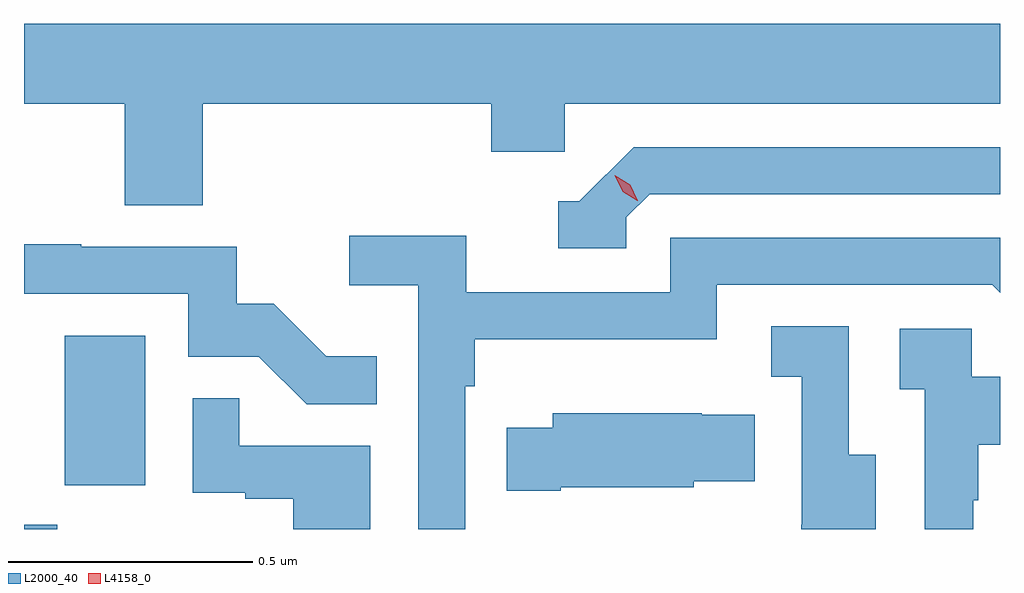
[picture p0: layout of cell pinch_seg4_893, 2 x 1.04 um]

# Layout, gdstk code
import gdstk
lib = gdstk.Library(unit=1e-6, precision=1e-09)
def R(c, l, rs):  # rectangles x0, y0, x1, y1
    for r in rs: c.add(gdstk.rectangle(r[:2], r[2:], *l))
def P(c, l, *ps):  # polygons
    for p in ps: c.add(gdstk.Polygon(p, *l))
L2000_40 = (2000, 40)
L4158_0 = (4158, 0)

pinch_seg4_893 = lib.new_cell('pinch_seg4_893')
R(pinch_seg4_893, L2000_40, [(830.792,798.612,830.86,798.621), (830.876,798.702,831.04,799.009)])
P(pinch_seg4_893, L2000_40, [(831.158,799.484),(831.749,799.484),(831.749,799.386),(831.9,799.386),(831.9,799.484),(832.792,799.484),(832.792,799.648),(830.792,799.648),(830.792,799.484),(830.998,799.484),(830.998,799.276),(831.158,799.276)],
  [(832.026,799.251),(832.074,799.299),(832.792,799.299),(832.792,799.395),(832.041,799.395),(831.93,799.284),(831.887,799.284),(831.887,799.188),(832.026,799.188)],
  [(831.696,798.905),(831.716,798.905),(831.716,799.001),(832.212,799.001),(832.212,799.113),(832.776,799.113),(832.792,799.097),(832.792,799.209),(832.116,799.209),(832.116,799.098),(831.698,799.098),(831.698,799.214),(831.459,799.214),(831.459,799.112),(831.6,799.112),(831.6,798.612),(831.696,798.612)],
  [(831.515,798.967),(831.411,798.967),(831.304,799.074),(831.228,799.074),(831.228,799.191),(830.909,799.191),(830.909,799.196),(830.792,799.196),(830.792,799.095),(831.129,799.095),(831.129,798.966),(831.273,798.966),(831.371,798.868),(831.515,798.868)],
  [(832.537,798.765),(832.482,798.765),(832.482,799.028),(832.323,799.028),(832.323,798.925),(832.386,798.925),(832.386,798.621),(832.385,798.621),(832.385,798.612),(832.537,798.612)],
  [(832.737,798.671),(832.747,798.671),(832.747,798.785),(832.792,798.785),(832.792,798.925),(832.734,798.925),(832.734,799.023),(832.587,799.023),(832.587,798.899),(832.638,798.899),(832.638,798.612),(832.737,798.612)],
  [(831.502,798.783),(831.233,798.783),(831.233,798.881),(831.138,798.881),(831.138,798.687),(831.245,798.687),(831.245,798.675),(831.344,798.675),(831.344,798.612),(831.502,798.612)],
  [(831.892,798.698),(832.164,798.698),(832.164,798.71),(832.289,798.71),(832.289,798.847),(832.181,798.847),(832.181,798.85),(831.875,798.85),(831.875,798.82),(831.781,798.82),(831.781,798.691),(831.892,798.691)])
P(pinch_seg4_893, L4158_0, [(832.049,799.285),(832.019,799.304),(832.003,799.337),(832.003,799.337),(832.003,799.337),(832.034,799.318),(832.05,799.285),(832.05,799.285)])

lib.write_gds('pinch_seg4_893.gds')
